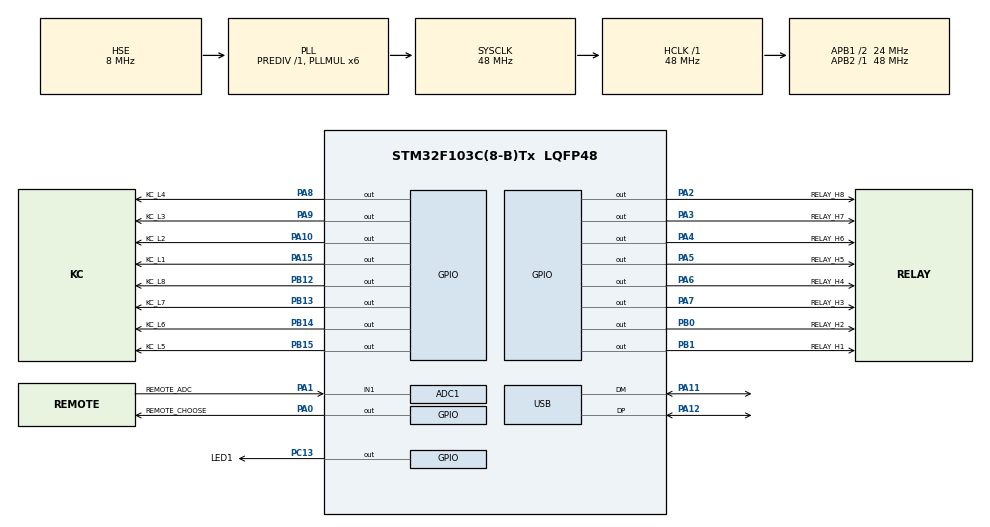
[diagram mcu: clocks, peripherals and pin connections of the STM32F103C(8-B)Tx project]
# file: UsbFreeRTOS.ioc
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ADC1.Channel-0\#ChannelRegularConversion=ADC_CHANNEL_1
ADC1.Channel-1\#ChannelRegularConversion=ADC_CHANNEL_VREFINT
ADC1.ContinuousConvMode=ENABLE
ADC1.NbrOfConversion=2
ADC1.NbrOfConversionFlag=1
ADC1.Rank-0\#ChannelRegularConversion=1
ADC1.Rank-1\#ChannelRegularConversion=2
ADC1.SamplingTime-0\#ChannelRegularConversion=ADC_SAMPLETIME_239CYCLES_5
ADC1.SamplingTime-1\#ChannelRegularConversion=ADC_SAMPLETIME_239CYCLES_5
ADC1.master=1
Dma.ADC1.0.Direction=DMA_PERIPH_TO_MEMORY
Dma.ADC1.0.Instance=DMA1_Channel1
Dma.ADC1.0.MemDataAlignment=DMA_MDATAALIGN_WORD
Dma.ADC1.0.MemInc=DMA_MINC_ENABLE
Dma.ADC1.0.Mode=DMA_CIRCULAR
Dma.ADC1.0.PeriphDataAlignment=DMA_PDATAALIGN_WORD
Dma.ADC1.0.PeriphInc=DMA_PINC_DISABLE
Dma.ADC1.0.Priority=DMA_PRIORITY_LOW
Dma.Request0=ADC1
FREERTOS.Mutexes01=UartWriteMutex,Dynamic,NULL;IwdgWriteMutex,Dynamic,NULL
FREERTOS.Queues01=uartRxQueue,256,uint8_t,0,Dynamic,NULL,NULL
FREERTOS.Tasks01=McuBasicTask,0,256,StartMcuBasicTask,Default,NULL,Dynamic,NULL,NULL;HostDecodeTask,0,256,StartHostDecodeTask,Default,NULL,Dynamic,NULL,NULL
FREERTOS.configTOTAL_HEAP_SIZE=10000
IWDG.Prescaler=IWDG_PRESCALER_256
Mcu.Family=STM32F1
Mcu.Name=STM32F103C(8-B)Tx
Mcu.Package=LQFP48
NVIC.DMA1_Channel1_IRQn=true\:5\:0\:false\:false\:true\:true\:false\:true
NVIC.PriorityGroup=NVIC_PRIORITYGROUP_4
NVIC.TIM1_UP_IRQn=true\:0\:0\:false\:false\:true\:false\:false\:true
NVIC.TimeBase=TIM1_UP_IRQn
NVIC.TimeBaseIP=TIM1
NVIC.USB_HP_CAN1_TX_IRQn=true\:5\:0\:false\:false\:true\:true\:true\:true
NVIC.USB_LP_CAN1_RX0_IRQn=true\:5\:0\:false\:false\:true\:true\:true\:true
PA0-WKUP.GPIO_Label=REMOTE_CHOOSE
PA0-WKUP.GPIO_ModeDefaultOutputPP=GPIO_MODE_OUTPUT_PP
PA0-WKUP.GPIO_PuPd=GPIO_NOPULL
PA0-WKUP.GPIO_Speed=GPIO_SPEED_FREQ_LOW
PA0-WKUP.Signal=GPIO_Output
PA1.GPIO_Label=REMOTE_ADC
PA1.Signal=ADCx_IN1
PA10.GPIO_Label=KC_L2
PA10.GPIO_ModeDefaultOutputPP=GPIO_MODE_OUTPUT_PP
PA10.GPIO_PuPd=GPIO_NOPULL
PA10.GPIO_Speed=GPIO_SPEED_FREQ_LOW
PA10.Signal=GPIO_Output
PA11.Mode=Device
PA11.Signal=USB_DM
PA12.Mode=Device
PA12.Signal=USB_DP
PA13.Mode=Serial_Wire
PA13.Signal=SYS_JTMS-SWDIO
PA14.Mode=Serial_Wire
PA14.Signal=SYS_JTCK-SWCLK
PA15.GPIO_Label=KC_L1
PA15.GPIO_ModeDefaultOutputPP=GPIO_MODE_OUTPUT_PP
PA15.GPIO_PuPd=GPIO_NOPULL
PA15.GPIO_Speed=GPIO_SPEED_FREQ_LOW
PA15.Signal=GPIO_Output
PA2.GPIO_Label=RELAY_H8
PA2.GPIO_ModeDefaultOutputPP=GPIO_MODE_OUTPUT_PP
PA2.GPIO_PuPd=GPIO_NOPULL
PA2.GPIO_Speed=GPIO_SPEED_FREQ_LOW
PA2.Signal=GPIO_Output
PA3.GPIO_Label=RELAY_H7
PA3.GPIO_ModeDefaultOutputPP=GPIO_MODE_OUTPUT_PP
PA3.GPIO_PuPd=GPIO_NOPULL
PA3.GPIO_Speed=GPIO_SPEED_FREQ_LOW
PA3.Signal=GPIO_Output
PA4.GPIO_Label=RELAY_H6
PA4.GPIO_ModeDefaultOutputPP=GPIO_MODE_OUTPUT_PP
PA4.GPIO_PuPd=GPIO_NOPULL
PA4.GPIO_Speed=GPIO_SPEED_FREQ_LOW
PA4.Signal=GPIO_Output
PA5.GPIO_Label=RELAY_H5
PA5.GPIO_ModeDefaultOutputPP=GPIO_MODE_OUTPUT_PP
PA5.GPIO_PuPd=GPIO_NOPULL
PA5.GPIO_Speed=GPIO_SPEED_FREQ_LOW
PA5.Signal=GPIO_Output
PA6.GPIO_Label=RELAY_H4
PA6.GPIO_ModeDefaultOutputPP=GPIO_MODE_OUTPUT_PP
PA6.GPIO_PuPd=GPIO_NOPULL
PA6.GPIO_Speed=GPIO_SPEED_FREQ_LOW
PA6.Signal=GPIO_Output
PA7.GPIO_Label=RELAY_H3
PA7.GPIO_ModeDefaultOutputPP=GPIO_MODE_OUTPUT_PP
PA7.GPIO_PuPd=GPIO_NOPULL
PA7.GPIO_Speed=GPIO_SPEED_FREQ_LOW
PA7.Signal=GPIO_Output
PA8.GPIO_Label=KC_L4
PA8.GPIO_ModeDefaultOutputPP=GPIO_MODE_OUTPUT_PP
PA8.GPIO_PuPd=GPIO_NOPULL
PA8.GPIO_Speed=GPIO_SPEED_FREQ_LOW
PA8.Signal=GPIO_Output
PA9.GPIO_Label=KC_L3
PA9.GPIO_ModeDefaultOutputPP=GPIO_MODE_OUTPUT_PP
PA9.GPIO_PuPd=GPIO_NOPULL
PA9.GPIO_Speed=GPIO_SPEED_FREQ_LOW
PA9.Signal=GPIO_Output
PB0.GPIO_Label=RELAY_H2
PB0.GPIO_ModeDefaultOutputPP=GPIO_MODE_OUTPUT_PP
PB0.GPIO_PuPd=GPIO_NOPULL
PB0.GPIO_Speed=GPIO_SPEED_FREQ_LOW
PB0.Signal=GPIO_Output
PB1.GPIO_Label=RELAY_H1
PB1.GPIO_ModeDefaultOutputPP=GPIO_MODE_OUTPUT_PP
PB1.GPIO_PuPd=GPIO_NOPULL
PB1.GPIO_Speed=GPIO_SPEED_FREQ_LOW
PB1.Signal=GPIO_Output
PB12.GPIO_Label=KC_L8
PB12.GPIO_ModeDefaultOutputPP=GPIO_MODE_OUTPUT_PP
PB12.GPIO_PuPd=GPIO_NOPULL
PB12.GPIO_Speed=GPIO_SPEED_FREQ_LOW
PB12.Signal=GPIO_Output
PB13.GPIO_Label=KC_L7
PB13.GPIO_ModeDefaultOutputPP=GPIO_MODE_OUTPUT_PP
PB13.GPIO_PuPd=GPIO_NOPULL
PB13.GPIO_Speed=GPIO_SPEED_FREQ_LOW
PB13.Signal=GPIO_Output
PB14.GPIO_Label=KC_L6
PB14.GPIO_ModeDefaultOutputPP=GPIO_MODE_OUTPUT_PP
PB14.GPIO_PuPd=GPIO_NOPULL
PB14.GPIO_Speed=GPIO_SPEED_FREQ_LOW
PB14.Signal=GPIO_Output
PB15.GPIO_Label=KC_L5
PB15.GPIO_ModeDefaultOutputPP=GPIO_MODE_OUTPUT_PP
PB15.GPIO_PuPd=GPIO_NOPULL
PB15.GPIO_Speed=GPIO_SPEED_FREQ_LOW
PB15.Signal=GPIO_Output
PC13-TAMPER-RTC.GPIO_Label=LED1
PC13-TAMPER-RTC.Signal=GPIO_Output
PD0-OSC_IN.Mode=HSE-External-Oscillator
PD0-OSC_IN.Signal=RCC_OSC_IN
PD1-OSC_OUT.Mode=HSE-External-Oscillator
PD1-OSC_OUT.Signal=RCC_OSC_OUT
ProjectManager.HeapSize=0x200
ProjectManager.StackSize=0x400
ProjectManager.TargetToolchain=EWARM V8
RCC.ADCPresc=RCC_ADCPCLK2_DIV4
RCC.AHBFreq_Value=48000000
RCC.APB1CLKDivider=RCC_HCLK_DIV2
RCC.APB1Freq_Value=24000000
RCC.APB1TimFreq_Value=48000000
RCC.APB2Freq_Value=48000000
RCC.APB2TimFreq_Value=48000000
RCC.EnbaleCSS=true
RCC.HCLKFreq_Value=48000000
RCC.PLLMUL=RCC_PLL_MUL6
RCC.SYSCLKFreq_VALUE=48000000
RCC.SYSCLKSource=RCC_SYSCLKSOURCE_PLLCLK
RCC.USBFreq_Value=48000000
SH.ADCx_IN1.0=ADC1_IN1,IN1
USB_DEVICE.CLASS_NAME_FS=CDC
USB_DEVICE.VirtualMode=Cdc
USB_DEVICE.VirtualModeFS=Cdc_FS
VP_ADC1_Vref_Input.Mode=IN-Vrefint
VP_FREERTOS_VS_CMSIS_V1.Mode=CMSIS_V1
VP_IWDG_VS_IWDG.Mode=IWDG_Activate
VP_SYS_VS_tim1.Mode=TIM1
VP_USB_DEVICE_VS_USB_DEVICE_CDC_FS.Mode=CDC_FS
board=custom

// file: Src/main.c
/* USER CODE BEGIN Header */
/**
  ******************************************************************************
  * @file           : main.c
  * @brief          : Main program body
  ******************************************************************************
  * @attention
  *
  * <h2><center>&copy; Copyright (c) 2019 STMicroelectronics.
  * All rights reserved.</center></h2>
  *
  * This software component is licensed by ST under Ultimate Liberty license
  * SLA0044, the "License"; You may not use this file except in compliance with
  * the License. You may obtain a copy of the License at:
  *                             www.st.com/SLA0044
  *
  ******************************************************************************
  */
/* USER CODE END Header */

#include "main.h"
#include "cmsis_os.h"
#include "adc.h"
#include "dma.h"
#include "iwdg.h"
#include "usb_device.h"
#include "gpio.h"

/* USER CODE BEGIN Includes */
#include "slaveTool.h"

/* USER CODE END Includes */

void SystemClock_Config(void);
void MX_FREERTOS_Init(void);

int main(void)
{

  /* MCU Configuration--------------------------------------------------------*/

  /* Reset of all peripherals, Initializes the Flash interface and the Systick. */
  HAL_Init();

  /* Configure the system clock */
  SystemClock_Config();

  /* Initialize all configured peripherals */
  MX_GPIO_Init();
  MX_DMA_Init();
  MX_ADC1_Init();
  MX_IWDG_Init();
  /* USER CODE BEGIN 2 */

  HAL_ADC_Start_DMA(&hadc1, (uint32_t *)tAdcValue.Value, ADC_CONVERTED_DATA_BUFFER_SIZE);
  /* USER CODE END 2 */

  /* Call init function for freertos objects (in freertos.c) */
  MX_FREERTOS_Init();

  /* Start scheduler */
  osKernelStart();

  /* We should never get here as control is now taken by the scheduler */

  /* Infinite loop */
  while (1)
  {

  }
}

void SystemClock_Config(void)
{
  RCC_OscInitTypeDef RCC_OscInitStruct = {0};
  RCC_ClkInitTypeDef RCC_ClkInitStruct = {0};
  RCC_PeriphCLKInitTypeDef PeriphClkInit = {0};

  /** Initializes the CPU, AHB and APB busses clocks
  */
  RCC_OscInitStruct.OscillatorType = RCC_OSCILLATORTYPE_LSI|RCC_OSCILLATORTYPE_HSE;
  RCC_OscInitStruct.HSEState = RCC_HSE_ON;
  RCC_OscInitStruct.HSEPredivValue = RCC_HSE_PREDIV_DIV1;
  RCC_OscInitStruct.HSIState = RCC_HSI_ON;
  RCC_OscInitStruct.LSIState = RCC_LSI_ON;
  RCC_OscInitStruct.PLL.PLLState = RCC_PLL_ON;
  RCC_OscInitStruct.PLL.PLLSource = RCC_PLLSOURCE_HSE;
  RCC_OscInitStruct.PLL.PLLMUL = RCC_PLL_MUL6;
  if (HAL_RCC_OscConfig(&RCC_OscInitStruct) != HAL_OK)
  {
    Error_Handler();
  }
  /** Initializes the CPU, AHB and APB busses clocks
  */
  RCC_ClkInitStruct.ClockType = RCC_CLOCKTYPE_HCLK|RCC_CLOCKTYPE_SYSCLK
                              |RCC_CLOCKTYPE_PCLK1|RCC_CLOCKTYPE_PCLK2;
  RCC_ClkInitStruct.SYSCLKSource = RCC_SYSCLKSOURCE_PLLCLK;
  RCC_ClkInitStruct.AHBCLKDivider = RCC_SYSCLK_DIV1;
  RCC_ClkInitStruct.APB1CLKDivider = RCC_HCLK_DIV2;
  RCC_ClkInitStruct.APB2CLKDivider = RCC_HCLK_DIV1;

  if (HAL_RCC_ClockConfig(&RCC_ClkInitStruct, FLASH_LATENCY_1) != HAL_OK)
  {
    Error_Handler();
  }
  PeriphClkInit.PeriphClockSelection = RCC_PERIPHCLK_ADC|RCC_PERIPHCLK_USB;
  PeriphClkInit.AdcClockSelection = RCC_ADCPCLK2_DIV4;
  PeriphClkInit.UsbClockSelection = RCC_USBCLKSOURCE_PLL;
  if (HAL_RCCEx_PeriphCLKConfig(&PeriphClkInit) != HAL_OK)
  {
    Error_Handler();
  }
  /** Enables the Clock Security System
  */
  HAL_RCC_EnableCSS();
}

void HAL_TIM_PeriodElapsedCallback(TIM_HandleTypeDef *htim)
{
  if (htim->Instance == TIM1) {
    HAL_IncTick();
  }
}

void Error_Handler(void)
{
  /* USER CODE BEGIN Error_Handler_Debug */
  /* User can add his own implementation to report the HAL error return state */
	HAL_NVIC_SystemReset();
	while(1)
	{

	}
  /* USER CODE END Error_Handler_Debug */
}

/************************ (C) COPYRIGHT STMicroelectronics *****END OF FILE****/

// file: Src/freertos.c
/* USER CODE BEGIN Header */
/**
  ******************************************************************************
  * File Name          : freertos.c
  * Description        : Code for freertos applications
  ******************************************************************************
  * @attention
  *
  * <h2><center>&copy; Copyright (c) 2019 STMicroelectronics.
  * All rights reserved.</center></h2>
  *
  * This software component is licensed by ST under Ultimate Liberty license
  * SLA0044, the "License"; You may not use this file except in compliance with
  * the License. You may obtain a copy of the License at:
  *                             www.st.com/SLA0044
  *
  ******************************************************************************
  */
/* USER CODE END Header */

#include "FreeRTOS.h"
#include "task.h"
#include "main.h"
#include "cmsis_os.h"

/* USER CODE BEGIN Includes */
#include "usbd_cdc_if.h"
#include "slaveTool.h"

/* USER CODE END Includes */

/* USER CODE BEGIN PTD */
typedef struct
{
    uint8_t	FrameLen;
    uint8_t	FrameBuf[256];
    uint8_t	FrameAck[64];
    uint8_t	FrameCheckSum;
    uint8_t	FrameLenMax;
    uint8_t	FramStatus;
    void (*ProtocolDecode)(uint8_t *Buf, uint16_t Len);
}tHostUartProtocolInfo;

typedef struct
{
    GPIO_TypeDef        *Port;
    uint16_t            Pin;
}tGPIODef;

/* USER CODE END PTD */

/* USER CODE BEGIN Variables */
uint8_t UartTxBuf[256];
uint32_t UartTxBufPtOut = 0;
tHostUartProtocolInfo uartRxDecodeInfo;
static uint8_t IwdgTaskTable = 0;

/* USER CODE END Variables */
osThreadId McuBasicTaskHandle;
osThreadId HostDecodeTaskHandle;
osMessageQId uartRxQueueHandle;
osMutexId UartWriteMutexHandle;
osMutexId IwdgWriteMutexHandle;

/* USER CODE BEGIN FunctionPrototypes */
uint8_t TaskFeedIwdgRegister(void);
void TaskFeedIwdg(uint8_t taskId);
void USBD_CDC_ReceiveData(uint8_t * Buf, uint32_t Len);
BaseType_t UartTransmitDataToHost(uint8_t * Buf, uint16_t Len);
BaseType_t UsbCdcTransmitDataToHost(uint8_t * Buf, uint16_t Len);
void HostProtocolDecode(tHostUartProtocolInfo * Protocol, uint8_t data);
void HostCmdProcess(uint8_t *Buf, uint16_t Len);

/* USER CODE END FunctionPrototypes */

void StartMcuBasicTask(void const * argument);
void StartHostDecodeTask(void const * argument);

extern void MX_USB_DEVICE_Init(void);
void MX_FREERTOS_Init(void); /* (MISRA C 2004 rule 8.1) */

void MX_FREERTOS_Init(void) {
  /* USER CODE BEGIN Init */
  dbgprintf("==========HELLO WORLD==========\n");
  /* USER CODE END Init */

  /* Create the mutex(es) */
  /* definition and creation of UartWriteMutex */
  osMutexDef(UartWriteMutex);
  UartWriteMutexHandle = osMutexCreate(osMutex(UartWriteMutex));

  /* definition and creation of IwdgWriteMutex */
  osMutexDef(IwdgWriteMutex);
  IwdgWriteMutexHandle = osMutexCreate(osMutex(IwdgWriteMutex));

  /* Create the queue(s) */
  /* definition and creation of uartRxQueue */
  osMessageQDef(uartRxQueue, 256, uint8_t);
  uartRxQueueHandle = osMessageCreate(osMessageQ(uartRxQueue), NULL);

  /* Create the thread(s) */
  /* definition and creation of McuBasicTask */
  osThreadDef(McuBasicTask, StartMcuBasicTask, osPriorityNormal, 0, 256);
  McuBasicTaskHandle = osThreadCreate(osThread(McuBasicTask), NULL);

  /* definition and creation of HostDecodeTask */
  osThreadDef(HostDecodeTask, StartHostDecodeTask, osPriorityNormal, 0, 256);
  HostDecodeTaskHandle = osThreadCreate(osThread(HostDecodeTask), NULL);

}

void StartMcuBasicTask(void const * argument)
{
  /* init code for USB_DEVICE */
  MX_USB_DEVICE_Init();

  /* USER CODE BEGIN StartMcuBasicTask */
  uint8_t fwdgId;
  static uint32_t dogTimer;

  fwdgId = TaskFeedIwdgRegister();

  McuInit();

  /* Infinite loop */
  for(;;)
  {
    osDelay(1);

	//基本任务
	McuBasicTaskProc();

	if(ReadUserTimer(&dogTimer) >= T_100MS * 10)
	{
	    TaskFeedIwdg(fwdgId);
	    ResetUserTimer(&dogTimer);
	}
  }
  /* USER CODE END StartMcuBasicTask */
}

void StartHostDecodeTask(void const * argument)
{
  /* USER CODE BEGIN StartHostDecodeTask */
  uint8_t fwdgId;
  uint8_t data;

  fwdgId = TaskFeedIwdgRegister();

  /*Init interface*/
  /*Process host command*/
  uartRxDecodeInfo.ProtocolDecode = HostCmdProcess;

  dbgprintf("Start HostDecode task\n");

  /* Infinite loop */
  for(;;)
  {
    /*Wait data from uart*/
    if(pdPASS == xQueueReceive(uartRxQueueHandle, &data, pdMS_TO_TICKS(2000)))
    {
        HostProtocolDecode(&uartRxDecodeInfo, data);
    }
    else
    {

    }

    MX_GPIO_Toggle(LED1_GPIO_Port, LED1_Pin);

    TaskFeedIwdg(fwdgId);
  }
  /* USER CODE END StartHostDecodeTask */
}

/* USER CODE BEGIN Application */

/**
* @brief Register to feed iwdg.
* @param argument: None
* @retval This task's id
*/
uint8_t TaskFeedIwdgRegister(void)
{
    static uint8_t location = 0;
    uint8_t id;

    id = 1 << location++;

    IwdgTaskTable |= id;

    return id;
}
/**
* @brief Feed iwdg.
* @param argument: taskId task id
* @retval None
*/
void TaskFeedIwdg(uint8_t taskId)
{
    static uint8_t tasks = 0;

    if ( xSemaphoreTake(IwdgWriteMutexHandle, portMAX_DELAY) == pdTRUE)
    {
        tasks |= taskId;
        if ( tasks == IwdgTaskTable )
        {
          MX_IWDG_Refresh();
        }

        xSemaphoreGive( IwdgWriteMutexHandle );
    }
    else
    {

    }
}

/*Decode host data and excute cmd process*/
void HostProtocolDecode(tHostUartProtocolInfo * Protocol, uint8_t data)
{
    switch(Protocol->FramStatus)
    {
        case 0:
            if(0xff == data)
            {
                Protocol->FramStatus = 1;
            }
            break;

        case 1:
            if(0x55 == data)
            {
                Protocol->FramStatus = 2;
                memset(&Protocol->FrameBuf, 0x00, sizeof(Protocol->FrameBuf));
            }
            else
            {
                Protocol->FramStatus = 0;
            }
            break;

        case 2:
            if(0xff != data)
            {
                Protocol->FrameCheckSum = Protocol->FrameLenMax = data;
                Protocol->FrameLen = 0;
                Protocol->FramStatus = 3;
            }
            else
            {
                Protocol->FramStatus = 0;
            }
            break;

        case 3:
            if(Protocol->FrameLen < Protocol->FrameLenMax - 1)
            {
                Protocol->FrameBuf[Protocol->FrameLen] = data;
                if(Protocol->FrameLen > 2)
                {
                    if(0x81 == Protocol->FrameBuf[1])
                    {
                        Protocol->FrameBuf[Protocol->FrameLen - 1] = Protocol->FrameBuf[Protocol->FrameLen - 1] ^ Protocol->FrameBuf[Protocol->FrameLen];
                    }
                }
                Protocol->FrameCheckSum += data;
                Protocol->FrameLen++;
            }
            else
            {
                if(data == Protocol->FrameCheckSum)
                {
                    Protocol->FrameBuf[Protocol->FrameLen] = 0;
                    Protocol->FrameBuf[Protocol->FrameLen + 1] = 0;

                    /* Deal command at here */
                    if(Protocol->ProtocolDecode)
                    {
                        Protocol->ProtocolDecode(Protocol->FrameBuf, Protocol->FrameLen);
                    }
                    else
                    {
                        /*Print debug information*/
                    }
                }
                else
                {
                    /* debug start*/

                    /* debug end*/
                }
                Protocol->FramStatus = 0;
                Protocol->FrameLen = 0;
                Protocol->FrameCheckSum = 0;
                Protocol->FrameLenMax = 0;
            }
            break;

        default:
                Protocol->FramStatus = 0;
                break;
    }
}

/*Uart tx data to host*/
BaseType_t UartTransmitDataToHost(uint8_t * Buf, uint16_t Len)
{
    BaseType_t res = pdFAIL;

    uint16_t size, index;
    uint8_t checkSum;

    size = Len + 4;

    uint8_t *pData = pvPortMalloc(size * sizeof(uint8_t));

    if(pData)
    {
        uint16_t i;

        pData[0] = 0xff;
        pData[1] = 0x55;
        pData[2] = checkSum = Len + 1;
        index = 3;
        i = 0;

        while(i < Len)
        {
            pData[index] = Buf[i];
            checkSum += Buf[i];

            i++;
            index++;
        }

        pData[index] = checkSum;

        // Transmit to usb host
        res = UsbCdcTransmitDataToHost(pData, size);
        vPortFree( pData );
    }
    else
    {
        res = pdFAIL;
    }

    return res;
}

/*Transmit data to host*/
BaseType_t UsbCdcTransmitDataToHost(uint8_t * Buf, uint16_t Len)
{
    BaseType_t res = pdFAIL;

    if(pdPASS == xSemaphoreTake(UartWriteMutexHandle,  portMAX_DELAY ))
    {
        uint16_t size, remain, index;

        remain = size = Len;
        index = 0;

        while(remain > 0)
        {
            if(size > sizeof(UartTxBuf))
            {
                remain = size - sizeof(UartTxBuf);
                size = sizeof(UartTxBuf);
            }
            else
            {
                size = remain;
                remain -= size;
            }

            memcpy(UartTxBuf, Buf + index, size);

            if(USBD_OK == CDC_Transmit_FS(UartTxBuf, size))
            {
                /*Transmit successfully*/
                res = pdPASS;
            }
            else
            {
                /*Transmit failed*/
                res = pdFAIL;
                break;
            }

            index += size;
        }

        xSemaphoreGive(UartWriteMutexHandle);
    }
    else
    {
        /*Mutex get failed*/
        res = pdFAIL;
    }

    return res;
}

/*Rx data from usb_cdc driver*/
void USBD_CDC_ReceiveData(uint8_t * Buf, uint32_t Len)
{
  uint32_t i;
  BaseType_t xHigherPriorityTaskWoken;

  xHigherPriorityTaskWoken = pdFALSE;

  for(i = 0; i < Len; i++)
  {
    if(pdTRUE == xQueueSendToBackFromISR(uartRxQueueHandle, &Buf[i], &xHigherPriorityTaskWoken))
    {
      /*Put successfully*/
    }
    else
    {
      /*Put failed*/
    }
  }
}
/* USER CODE END Application */

/************************ (C) COPYRIGHT STMicroelectronics *****END OF FILE****/
